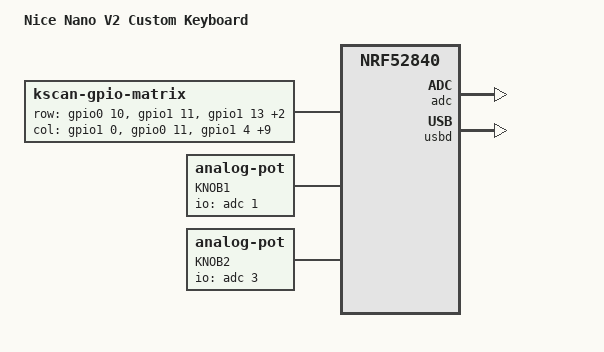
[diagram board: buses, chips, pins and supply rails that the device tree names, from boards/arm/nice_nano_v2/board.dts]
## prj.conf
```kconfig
# ZMK Configuration
CONFIG_ZMK_KEYBOARD_NAME="Nice Nano V2 Custom"

# Enable USB
CONFIG_USB_DEVICE_STACK=y
CONFIG_USB_DEVICE_PRODUCT="Nice Nano V2 Keyboard"
CONFIG_USB_DEVICE_MANUFACTURER="Custom"
CONFIG_USB_DEVICE_VID=0x1D50
CONFIG_USB_DEVICE_PID=0x615E

# Enable HID
CONFIG_USB_DEVICE_HID=y
CONFIG_ZMK_USB=y

# Enable Bluetooth
CONFIG_BT=y
CONFIG_BT_CTLR=y
CONFIG_ZMK_BLE=y
CONFIG_BT_MAX_CONN=5
CONFIG_BT_MAX_PAIRED=5

# Enable keyboard matrix
CONFIG_ZMK_KSCAN_GPIO_DRIVER=y

# GPIO
CONFIG_GPIO=y

# Enable ADC for analog pots/knobs
CONFIG_ADC=y
CONFIG_ADC_NRFX_SAADC=y

# Logging
CONFIG_LOG=y
CONFIG_ZMK_LOG_LEVEL_DBG=y
CONFIG_LOG_DEFAULT_LEVEL=3

# Power management
CONFIG_PM=y
CONFIG_PM_DEVICE=y

# Memory
CONFIG_MAIN_STACK_SIZE=2048
CONFIG_HEAP_MEM_POOL_SIZE=8192

# Settings
CONFIG_SETTINGS=y
CONFIG_SETTINGS_RUNTIME=y

# Flash
CONFIG_FLASH=y
CONFIG_FLASH_MAP=y
CONFIG_NVS=y
```

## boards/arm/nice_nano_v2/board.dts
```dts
/*
 * Copyright (c) 2025
 * SPDX-License-Identifier: MIT
 */

/dts-v1/;
#include <nordic/nrf52840_qiaa.dtsi>

/ {
    model = "Nice Nano V2 Custom Keyboard";
    compatible = "nice,nano,v2";

    chosen {
        zephyr,code-partition = &code_partition;
        zephyr,sram = &sram0;
        zephyr,flash = &flash0;
        zephyr,console = &cdc_acm_uart;
        zmk,kscan = &kscan0;
    };

    kscan0: kscan {
        compatible = "zmk,kscan-gpio-matrix";
        label = "KSCAN";

        diode-direction = "col2row";

        row-gpios
            = <&gpio0 10 (GPIO_ACTIVE_HIGH | GPIO_PULL_DOWN)>  // r1: P0.10
            , <&gpio1 11 (GPIO_ACTIVE_HIGH | GPIO_PULL_DOWN)>  // r2: P1.11
            , <&gpio1 13 (GPIO_ACTIVE_HIGH | GPIO_PULL_DOWN)>  // r3: P1.13
            , <&gpio1 15 (GPIO_ACTIVE_HIGH | GPIO_PULL_DOWN)>  // r4: P1.15
            , <&gpio0 2  (GPIO_ACTIVE_HIGH | GPIO_PULL_DOWN)>  // r5: P0.02
            ;

        col-gpios
            = <&gpio1 0  GPIO_ACTIVE_HIGH>  // c1: P1.00
            , <&gpio0 11 GPIO_ACTIVE_HIGH>  // c2: P0.11
            , <&gpio1 4  GPIO_ACTIVE_HIGH>  // c3: P1.04
            , <&gpio0 22 GPIO_ACTIVE_HIGH>  // c4: P0.22
            , <&gpio0 24 GPIO_ACTIVE_HIGH>  // c5: P0.24
            , <&gpio1 6  GPIO_ACTIVE_HIGH>  // c6: P1.06
            , <&gpio0 9  GPIO_ACTIVE_HIGH>  // c7: P0.09
            , <&gpio1 1  GPIO_ACTIVE_HIGH>  // c8: P1.01
            , <&gpio1 2  GPIO_ACTIVE_HIGH>  // c9: P1.02
            , <&gpio0 20 GPIO_ACTIVE_HIGH>  // c10: P0.20
            , <&gpio0 17 GPIO_ACTIVE_HIGH>  // c11: P0.17
            , <&gpio1 7  GPIO_ACTIVE_HIGH>  // c12: P1.07
            ;
    };

    knob1: knob1 {
        compatible = "analog-pot";
        label = "KNOB1";
        io-channels = <&adc 1>;  // P0.29 = AIN1
    };

    knob2: knob2 {
        compatible = "analog-pot";
        label = "KNOB2";
        io-channels = <&adc 3>;  // P0.31 = AIN3
    };
};

&adc {
    status = "okay";
};

&gpiote {
    status = "okay";
};

&gpio0 {
    status = "okay";
};

&gpio1 {
    status = "okay";
};

&usbd {
    status = "okay";
    cdc_acm_uart: cdc_acm_uart {
        compatible = "zephyr,cdc-acm-uart";
        label = "CDC_ACM_0";
    };
};

&flash0 {
    partitions {
        compatible = "fixed-partitions";
        #address-cells = <1>;
        #size-cells = <1>;

        sd_partition: partition@0 {
            label = "softdevice";
            reg = <0x00000000 0x00026000>;
        };

        code_partition: partition@26000 {
            label = "code_partition";
            reg = <0x00026000 0x000c6000>;
        };

        storage_partition: partition@ec000 {
            label = "storage";
            reg = <0x000ec000 0x00008000>;
        };

        boot_partition: partition@f4000 {
            label = "adafruit_boot";
            reg = <0x000f4000 0x0000c000>;
        };
    };
};
```

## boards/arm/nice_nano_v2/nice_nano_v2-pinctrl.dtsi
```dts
/*
 * Copyright (c) 2025
 * SPDX-License-Identifier: MIT
 */

&pinctrl {
    uart0_default: uart0_default {
        group1 {
            psels = <NRF_PSEL(UART_TX, 0, 6)>,
                    <NRF_PSEL(UART_RX, 0, 8)>;
        };
    };

    uart0_sleep: uart0_sleep {
        group1 {
            psels = <NRF_PSEL(UART_TX, 0, 6)>,
                    <NRF_PSEL(UART_RX, 0, 8)>;
            low-power-enable;
        };
    };

    i2c0_default: i2c0_default {
        group1 {
            psels = <NRF_PSEL(TWIM_SDA, 0, 17)>,
                    <NRF_PSEL(TWIM_SCL, 0, 20)>;
        };
    };

    i2c0_sleep: i2c0_sleep {
        group1 {
            psels = <NRF_PSEL(TWIM_SDA, 0, 17)>,
                    <NRF_PSEL(TWIM_SCL, 0, 20)>;
            low-power-enable;
        };
    };

    spi0_default: spi0_default {
        group1 {
            psels = <NRF_PSEL(SPIM_SCK, 0, 20)>,
                    <NRF_PSEL(SPIM_MOSI, 0, 17)>,
                    <NRF_PSEL(SPIM_MISO, 0, 22)>;
        };
    };

    spi0_sleep: spi0_sleep {
        group1 {
            psels = <NRF_PSEL(SPIM_SCK, 0, 20)>,
                    <NRF_PSEL(SPIM_MOSI, 0, 17)>,
                    <NRF_PSEL(SPIM_MISO, 0, 22)>;
            low-power-enable;
        };
    };
};
```

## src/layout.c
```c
/*
 * Copyright (c) 2025
 * SPDX-License-Identifier: MIT
 */

#include <zephyr/kernel.h>

// This file can be used for custom layout processing if needed
// For ZMK, the keymap is primarily defined in the keymap.keymap file
```
